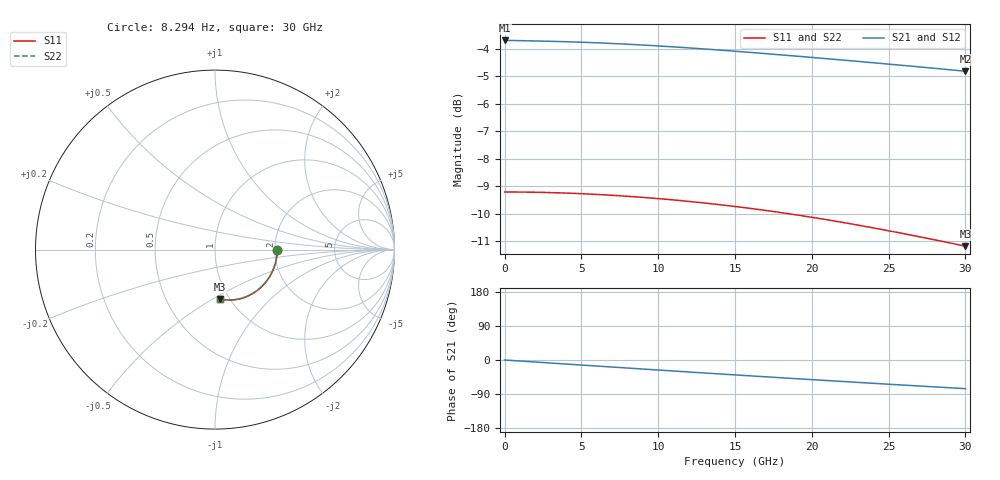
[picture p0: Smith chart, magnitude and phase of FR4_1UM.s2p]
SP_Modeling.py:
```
import matplotlib.pyplot as plt
import skrf as rf
from skrf import Network

plt.rcParams["font.family"] = "Century Gothic"
plt.rcParams["font.size"] = "14"

SP = Network('SP/FR4_1UM.s2p')


plt.figure()
SP.plot_s_db(m=2-1, n=1-1, label='S21', linewidth ='3')
plt.xlabel('F, Гц')
plt.ylabel('S21, дБ')
plt.grid()

plt.figure()
SP.plot_s_db(m=1-1, n=1-1, label='S11', linewidth ='3')
plt.xlabel('F, Гц')
plt.ylabel('S11, дБ')
plt.grid()

plt.figure()
SP.plot_s_smith(0,0, label='S11', linewidth ='3',draw_labels=True)

plt.show()
```
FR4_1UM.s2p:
! Created Tue Apr  6 14:37:45 2021
! List of port names and net name(s): example Port n = <port_name> <net_name1> <net_name2> ...
! Port 1 = P1 P1
! Port 2 = P2 P2
# hz S ri R 50
! 2 Port Network Data from data block
! freq  reS11  imS11  reS21  imS21  reS12  imS12  reS22  imS22
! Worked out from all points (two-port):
!   140 points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, 8.294 Hz to 30 GHz, reference 50 ohm
!   highest |S21| = -3.70 dB at 523.3 kHz (marker M1); lowest = -4.8 dB at 30 GHz (marker M2)
!   |S21| within 3 dB of the highest: start of sweep to end of sweep
!   lowest |S11| = -11.2 dB at 30 GHz (marker M3), VSWR 1.76, Z = 45.1 - j26.9 ohm
!   |S11| at or under -10 dB: 18.59 GHz to end of sweep
!   |S22| runs from -11.2 to -9.2 dB; largest |S21 - S12| = 0
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8.293899  0.3466 -1.58e-10  0.6534 -2.6e-10  0.6534 -2.6e-10  0.3466 -1.58e-10
523309.7  0.3466 -9.97e-06  0.6534 -1.64e-05  0.6534 -1.64e-05  0.3466 -9.97e-06
3.333333e9  0.3398 -0.0628  0.6428 -0.1012  0.6428 -0.1012  0.3398 -0.0628
7.083333e9  0.3168 -0.1281  0.6104 -0.2087  0.6104 -0.2087  0.3168 -0.1281
1.09375e10  0.2795 -0.1854  0.5566 -0.3081  0.5566 -0.3081  0.2795 -0.1854
1.3125e10  0.2536 -0.2124  0.5187 -0.3579  0.5187 -0.3579  0.2536 -0.2124
1.53125e10  0.2251 -0.235  0.4765 -0.4023  0.4765 -0.4023  0.2251 -0.235
1.875e10  0.1772 -0.2613  0.4038 -0.4608  0.4038 -0.4608  0.1772 -0.2613
2.25e10  0.1238 -0.2772  0.3186 -0.5088  0.3186 -0.5088  0.1238 -0.2772
2.625e10  0.0727 -0.281  0.2305 -0.5405  0.2305 -0.5405  0.0727 -0.281
3e10  0.0265 -0.275  0.1423 -0.5565  0.1423 -0.5565  0.0265 -0.275
